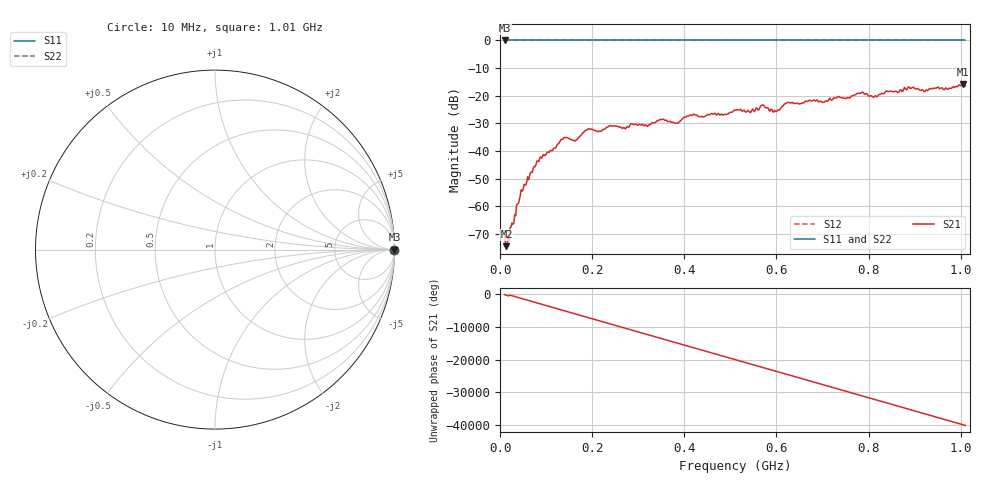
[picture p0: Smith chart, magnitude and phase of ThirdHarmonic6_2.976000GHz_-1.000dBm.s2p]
! 8/17/2025 8:26:29 AM
! C:\ANRITSUVNA\TEMP\TEMP.S2P
! CHANNEL.1
! TR.MEASUREMENT
! RAW.DATA
! RF.CORRECTION.OFF
! AVERAGING.OFF
! IF.BANDWIDTH: 5KHZ
! SWEEPTYPE:  FREQ.SWEEP(Linear)
! Reference Plane Port Info
! PORT:  PORT1  PORT2
! DISTANCE:  0  m  0  m
! TIME:  0  s  0  s
! PHASE.OFFSET:  0  deg.  0  deg.
! LOSS:  0  dB  0  dB
! REF.LOSS:  0  dB  0  dB
! REF.FREQ:  0  Hz  0  Hz
! Power Info
! POWER:  -20  dBm  -20  dBm
! EFF.POWER:  -20  dBm  -20  dBm
! SOURCE.ATTEN:  0  dB  0  dB
! TEST.ATTEN:  0  dB  0  dB
# GHZ S RI R 50.0
! FREQ.GHZ  S11RE  S11IM  S21RE  S21IM  S12RE  S12IM  S22RE  S22IM
!; PortSelection: Port_12
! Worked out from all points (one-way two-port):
!   501 points, 10 MHz to 1.01 GHz, reference 50 ohm
!   highest |S21| = -15.77 dB at 1.004 GHz (marker M1); lowest = -74.3 dB at 14 MHz (marker M2)
!   lowest |S11| = 0.0 dB at 10 MHz (marker M3)
!   |S11| at or under -10 dB: nowhere
!   |S22| runs from 0.0 to 0.0 dB; largest |S21 - S12| = 1.1
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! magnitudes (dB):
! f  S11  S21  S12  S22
! 10 MHz  0.0  -68.9  0.0  0.0
! 14 MHz  0.0  -74.3  0.0  0.0
! 16 MHz  0.0  -73.4  0.0  0.0
! 48 MHz  0.0  -54.5  0.0  0.0
! 84 MHz  0.0  -43.7  0.0  0.0
! 136 MHz  0.0  -35.7  0.0  0.0
! 162 MHz  0.0  -36.4  0.0  0.0
! 178 MHz  0.0  -33.7  0.0  0.0
! 344 MHz  0.0  -29.0  0.0  0.0
! 382 MHz  0.0  -29.9  0.0  0.0
! 416 MHz  0.0  -27.1  0.0  0.0
! 510 MHz  0.0  -25.2  0.0  0.0
! 542 MHz  0.0  -26.0  0.0  0.0
! 570 MHz  0.0  -23.3  0.0  0.0
! 596 MHz  0.0  -25.3  0.0  0.0
! 622 MHz  0.0  -22.5  0.0  0.0
! 678 MHz  0.0  -21.8  0.0  0.0
! 784 MHz  0.0  -19.0  0.0  0.0
! 814 MHz  0.0  -20.0  0.0  0.0
! 844 MHz  0.0  -18.5  0.0  0.0
! 1.004 GHz  0.0  -15.8  0.0  0.0
! 1.01 GHz  0.0  -16.4  0.0  0.0
